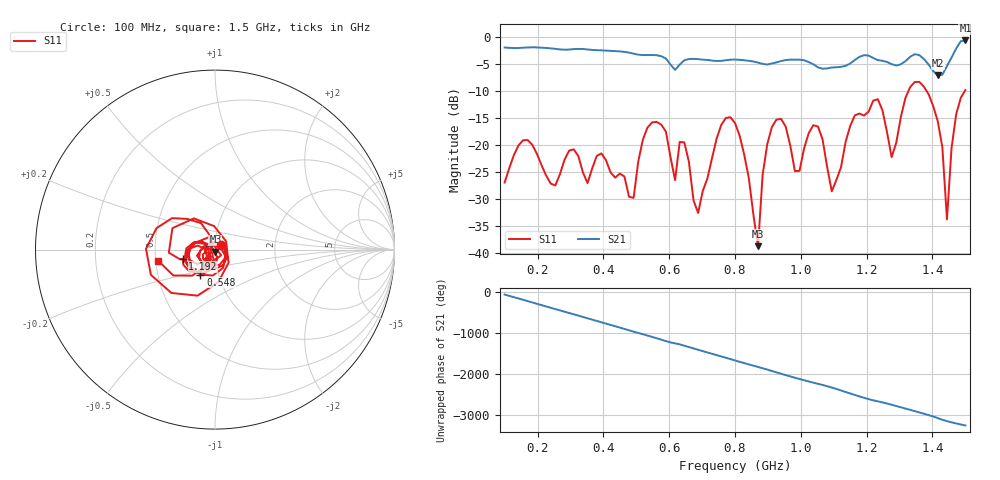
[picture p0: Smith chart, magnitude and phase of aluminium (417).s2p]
! NanoVNA-App
! Date: 2025-09-25 14:58:31
! Start: 100MHz Stop: 1,5GHz Points: 101
! S-Parameter data: F S11 S21 S12 S22
# Hz S RI R 50
!  Frequency  S11_Real  S11_Imag  S21_Real  S21_Imag  S12_Real  S12_Imag  S22_Real  S22_Imag
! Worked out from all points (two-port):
!   101 points, 100 MHz to 1.5 GHz, reference 50 ohm
!   highest |S21| = -0.62 dB at 1.5 GHz (marker M1); lowest = -7.1 dB at 1.416 GHz (marker M2)
!   |S21| within 3 dB of the highest: start of sweep to 578.7 MHz; 1.459 GHz to end of sweep (the widest 2 of 4)
!   lowest |S11| = -38.8 dB at 870 MHz (marker M3), VSWR 1.02, Z = 50.2 - j1.13 ohm
!   |S11| at or under -10 dB: start of sweep to 1.327 GHz; 1.382 GHz to 1.498 GHz (116 MHz wide, 8.05 % of centre)
!   S12 and S22 are empty: the file has one direction only
!   S11 on the Smith chart (normalised r, x): 100 MHz: 1.07, +0.06; 548 MHz: 0.82, -0.24; 1.192 GHz: 0.69, -0.07; 1.5 GHz: 0.52, -0.07
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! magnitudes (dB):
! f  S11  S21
! 100 MHz  -27.0  -1.9
! 156 MHz  -19.1  -2.0
! 338 MHz  -25.1  -2.2
! 492 MHz  -29.8  -3.1
! 548 MHz  -15.8  -3.3
! 576 MHz  -16.2  -3.5
! 618 MHz  -26.5  -6.1
! 646 MHz  -19.5  -4.3
! 688 MHz  -32.6  -4.1
! 800 MHz  -15.9  -4.2
! 870 MHz  -38.8  -4.7
! 912 MHz  -16.7  -4.9
! 982 MHz  -24.8  -4.2
! 1.038 GHz  -16.3  -5.0
! 1.094 GHz  -28.6  -5.6
! 1.192 GHz  -14.5  -3.3
! 1.276 GHz  -22.3  -5.0
! 1.346 GHz  -8.3  -3.2
! 1.416 GHz  -15.6  -7.1
! 1.444 GHz  -33.8  -5.4
! 1.472 GHz  -14.3  -2.1
! 1.5 GHz  -9.8  -0.6
